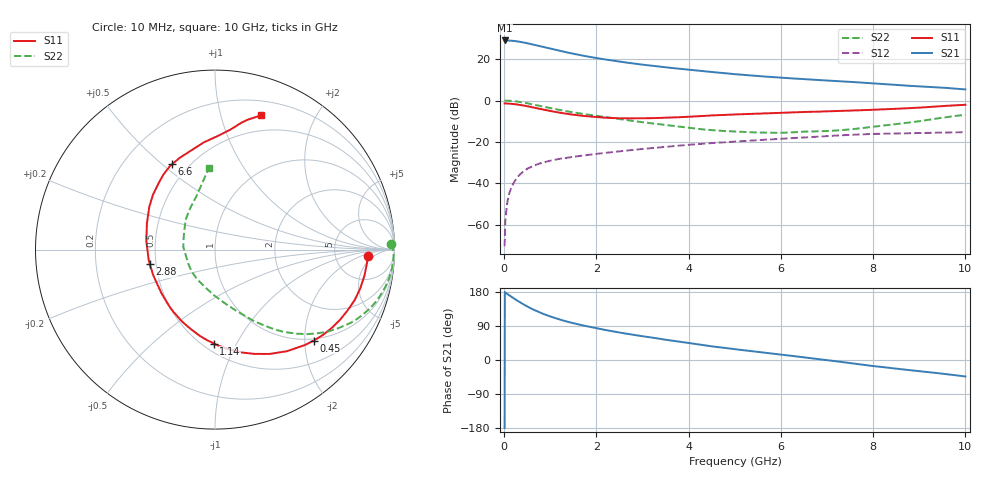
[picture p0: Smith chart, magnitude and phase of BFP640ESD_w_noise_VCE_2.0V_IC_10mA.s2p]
! Infineon Technologies  Discrete & RF Semiconductors
! BFP640ESD
! VCE =  2.0 V,  IC =  10 mA
! Common Emitter S-Parameters:  Jan 2016
# GHz  S  MA  R  50
!  f  S11  S21  S12  S22
! GHz  MAG  ANG  MAG  ANG  MAG  ANG  MAG  ANG
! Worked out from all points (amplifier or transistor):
!   233 points, 10 MHz to 10 GHz, reference 50 ohm
!   highest |S21| = 29.1 dB at 10 MHz (marker M1)
!   |S21| within 3 dB of that: start of sweep to 817 MHz
!   unconditionally stable (mu >= 1): start of sweep to 11.78 MHz; 4.095 GHz to 9.013 GHz
!   at 200 MHz: K = 0.09, MSG = 34.5 dB, |S12| = -40.1 dB
!   at 1.74 GHz: K = 0.70, MSG = 24.1 dB, |S12| = -26.5 dB
!   at 10 GHz: K = 0.88, MSG = 10.3 dB, |S12| = -15.3 dB
!   lowest NFmin = 0.68 dB at 450 MHz
!   S11 on the Smith chart (normalised r, x): 10 MHz: 12, -3; 450 MHz: 0.96, -2.21; 1.14 GHz: 0.56, -0.81; 2.88 GHz: 0.46, -0.09; 6.6 GHz: 0.41, +0.54; 10 GHz: 0.34, +1.34
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0.01  0.8533 -2.3  28.44 -179.7  0.0003 -18.2  0.9818 1.8
0.02  0.8504 -2.2  28.38 178.7  0.001 81.4  0.9964 -0.9
0.05  0.8503 -5.1  28.33 175.6  0.0024 87.1  0.995 -3.1
0.14  0.8388 -13.9  28.17 168.4  0.007 82.5  0.9843 -8.8
0.26  0.81 -25.5  27.2 158.5  0.0127 76.4  0.9538 -15.9
0.36  0.7798 -34.8  26.18 151.1  0.017 72.0  0.9181 -21.4
0.45  0.7483 -42.6  25.03 144.7  0.0205 68.4  0.8818 -25.9
0.6  0.6931 -54.8  23 134.8  0.0254 63.0  0.8151 -32.5
0.7  0.6559 -62.4  21.68 129.3  0.0283 60.3  0.7728 -36.4
0.9  0.5896 -76.1  19.16 119.2  0.0331 55.8  0.6935 -42.8
1.14  0.5234 -90.7  16.57 109.3  0.0378 52.2  0.6114 -48.9
1.4  0.4698 -105.0  14.28 100.1  0.042 49.6  0.5395 -54.3
1.68  0.4294 -118.4  12.4 92.0  0.0463 47.9  0.4807 -58.9
2.2  0.3848 -140.8  9.832 79.1  0.0543 45.7  0.3974 -66.6
2.88  0.3719 -167.2  7.681 65.0  0.0654 42.9  0.3118 -78.1
3.4  0.381 176.0  6.562 55.5  0.0742 40.3  0.2643 -88.4
4.5  0.4366 147.0  4.912 36.0  0.0937 33.0  0.1928 -121.1
5.1  0.465 137.0  4.261 27.1  0.1035 28.7  0.1759 -139.4
6.6  0.5321 116.8  3.246 5.5  0.1304 17.3  0.1777 172.8
6.8  0.5392 113.9  3.147 2.6  0.1343 15.5  0.18 167.8
8.4  0.6254 90.1  2.423 -21.5  0.1592 -1.4  0.2605 123.6
10  0.7902 71.1  1.858 -43.5  0.1721 -16.2  0.4557 94.4
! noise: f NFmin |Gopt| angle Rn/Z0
0.45  0.68  0.19  6  0.11
0.9  0.7  0.18  20  0.1
1.9  0.72  0.13  35  0.1
2.4  0.75  0.09  56  0.1
5.5  1.03  0.31  -133  0.1
10  1.78  0.59  -80  0.7
